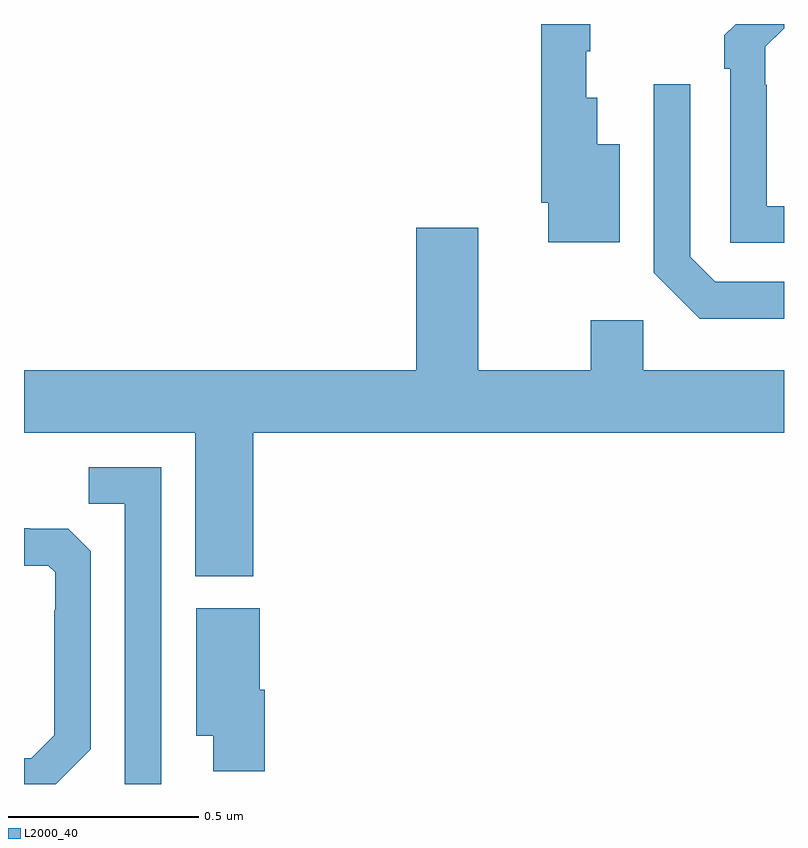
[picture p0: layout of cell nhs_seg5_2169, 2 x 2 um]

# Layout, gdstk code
import gdstk
lib = gdstk.Library(unit=1e-6, precision=1e-09)
def P(c, l, *ps):  # polygons
    for p in ps: c.add(gdstk.Polygon(p, *l))
L2000_40 = (2000, 40)

nhs_seg5_2169 = lib.new_cell('nhs_seg5_2169')
P(nhs_seg5_2169, L2000_40, [(141.568,893.482),(141.508,893.482),(141.508,893.605),(141.479,893.605),(141.479,893.727),(141.49,893.727),(141.49,893.799),(141.361,893.799),(141.361,893.329),(141.38,893.329),(141.38,893.225),(141.568,893.225)],
  [(142,893.319),(141.954,893.319),(141.954,893.639),(141.951,893.639),(141.951,893.739),(142,893.788),(142,893.799),(141.873,893.799),(141.843,893.769),(141.843,893.681),(141.858,893.681),(141.858,893.223),(142,893.223)],
  [(142,893.121),(141.819,893.121),(141.753,893.187),(141.753,893.641),(141.657,893.641),(141.657,893.145),(141.778,893.024),(142,893.024)],
  [(140.603,892.724),(142,892.724),(142,892.888),(141.63,892.888),(141.63,893.02),(141.491,893.02),(141.491,892.888),(141.196,892.888),(141.196,893.263),(141.032,893.263),(141.032,892.888),(140,892.888),(140,892.724),(140.45,892.724),(140.45,892.346),(140.603,892.346)],
  [(140.361,892.632),(140.17,892.632),(140.17,892.537),(140.265,892.537),(140.265,891.799),(140.361,891.799)],
  [(140.175,891.89),(140.175,892.412),(140.116,892.471),(140.015,892.471),(140.015,892.472),(140,892.472),(140,892.374),(140.064,892.374),(140.082,892.356),(140.082,892.256),(140.079,892.256),(140.079,891.927),(140.019,891.867),(140,891.867),(140,891.799),(140.084,891.799)],
  [(140.633,892.047),(140.62,892.047),(140.62,892.261),(140.453,892.261),(140.453,891.926),(140.498,891.926),(140.498,891.833),(140.633,891.833)])

lib.write_gds('nhs_seg5_2169.gds')
